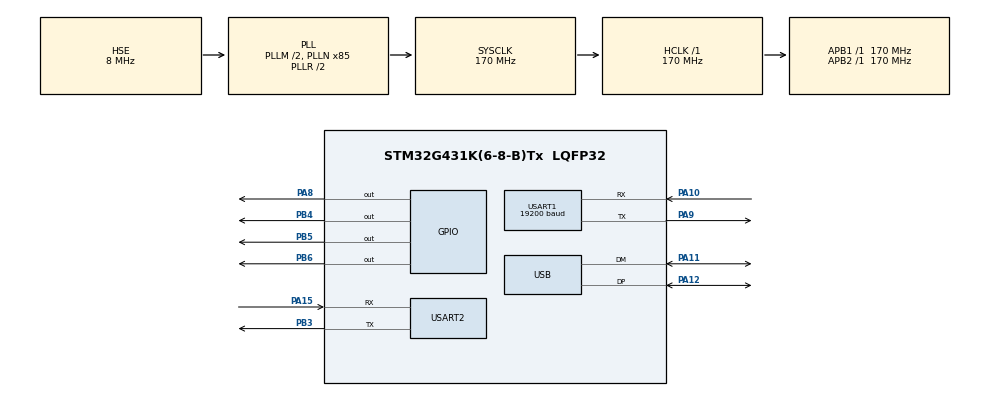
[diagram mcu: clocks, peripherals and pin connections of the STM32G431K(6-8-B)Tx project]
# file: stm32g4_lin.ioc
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Mcu.Family=STM32G4
Mcu.Name=STM32G431K(6-8-B)Tx
Mcu.Package=LQFP32
NVIC.PriorityGroup=NVIC_PRIORITYGROUP_4
NVIC.TIM1_UP_TIM16_IRQn=true\:15\:0\:false\:false\:true\:false\:true\:true
NVIC.TimeBase=TIM1_UP_TIM16_IRQn
NVIC.TimeBaseIP=TIM1
NVIC.USART1_IRQn=true\:0\:0\:false\:false\:true\:true\:true\:true
NVIC.USART2_IRQn=true\:0\:0\:false\:false\:true\:true\:true\:true
NVIC.USB_LP_IRQn=true\:0\:0\:false\:false\:true\:false\:true\:true
PA10.Mode=LIN
PA10.Signal=USART1_RX
PA11.Mode=Device
PA11.Signal=USB_DM
PA12.Mode=Device
PA12.Signal=USB_DP
PA13.Mode=Serial_Wire
PA13.Signal=SYS_JTMS-SWDIO
PA14.Mode=Serial_Wire
PA14.Signal=SYS_JTCK-SWCLK
PA15.GPIO_PuPd=GPIO_PULLUP
PA15.Mode=Asynchronous
PA15.Signal=USART2_RX
PA8.Signal=GPIO_Output
PA9.Mode=LIN
PA9.Signal=USART1_TX
PB3.Mode=Asynchronous
PB3.Signal=USART2_TX
PB4.Signal=GPIO_Output
PB5.Signal=GPIO_Output
PB6.Signal=GPIO_Output
PF0-OSC_IN.Mode=HSE-External-Oscillator
PF0-OSC_IN.Signal=RCC_OSC_IN
PF1-OSC_OUT.Mode=HSE-External-Oscillator
PF1-OSC_OUT.Signal=RCC_OSC_OUT
ProjectManager.HeapSize=0x200
ProjectManager.StackSize=0x800
ProjectManager.TargetToolchain=STM32CubeIDE
RCC.ADC12Freq_Value=170000000
RCC.AHBFreq_Value=170000000
RCC.APB1Freq_Value=170000000
RCC.APB1TimFreq_Value=170000000
RCC.APB2Freq_Value=170000000
RCC.APB2TimFreq_Value=170000000
RCC.CK48CLockSelection=RCC_USBCLKSOURCE_HSI48
RCC.CortexFreq_Value=170000000
RCC.EXTERNAL_CLOCK_VALUE=12288000
RCC.HCLKFreq_Value=170000000
RCC.HSE_VALUE=8000000
RCC.HSI48_VALUE=48000000
RCC.HSI_VALUE=16000000
RCC.LSE_VALUE=32768
RCC.PLLM=RCC_PLLM_DIV2
RCC.PLLN=85
RCC.PLLSourceVirtual=RCC_PLLSOURCE_HSE
RCC.SYSCLKFreq_VALUE=170000000
RCC.SYSCLKSource=RCC_SYSCLKSOURCE_PLLCLK
RCC.USBFreq_Value=48000000
RCC.VCOOutputFreq_Value=340000000
USART1.BaudRate=19200
USART1.BreakDetectLength=UART_LINBREAKDETECTLENGTH_11B
USART1.SwapParam=ADVFEATURE_SWAP_DISABLE
USART1.VirtualMode-LIN=VM_LIN
USART2.VirtualMode-Asynchronous=VM_ASYNC
USB_DEVICE.CLASS_NAME_FS=CDC
USB_DEVICE.VirtualMode=Cdc
USB_DEVICE.VirtualModeFS=Cdc_FS
VP_SYS_VS_DBSignals.Mode=DisableDeadBatterySignals
VP_SYS_VS_tim1.Mode=TIM1
VP_USB_DEVICE_VS_USB_DEVICE_CDC_FS.Mode=CDC_FS
board=custom

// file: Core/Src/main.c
/* USER CODE BEGIN Header */
/**
  ******************************************************************************
  * @file           : main.c
  * @brief          : Main program body
  ******************************************************************************
  * @attention
  *
  * Copyright (c) 2024 STMicroelectronics.
  * All rights reserved.
  *
  * This software is licensed under terms that can be found in the LICENSE file
  * in the root directory of this software component.
  * If no LICENSE file comes with this software, it is provided AS-IS.
  *
  ******************************************************************************
  */
/* USER CODE END Header */
#include "main.h"
#include "usart.h"
#include "usb_device.h"
#include "gpio.h"

/* USER CODE BEGIN Includes */
#include <stdio.h>
#include "slcan.h"
#include "lin_slcan.h"
/* USER CODE END Includes */

void SystemClock_Config(void);

/* USER CODE BEGIN 0 */
const uint32_t *uid = (uint32_t *)(UID_BASE);
uint32_t serialNumber = 0;
uint32_t lin_baund_rate = 19200;
uint8_t Uart2RxFifo;
extern void bootloaderSwitcher();

extern UART_HandleTypeDef huart2;
int __io_putchar(int ch)
{
	HAL_UART_Transmit(&huart2, (uint8_t*)&ch, 1, 1000);
    return ch;
}
/* USER CODE END 0 */

int main(void)
{

  /* USER CODE BEGIN 1 */
	serialNumber = uid[0] ^ uid[1] ^ uid[2];
	bootloaderSwitcher();

  /* USER CODE END 1 */

  /* MCU Configuration--------------------------------------------------------*/

  /* Reset of all peripherals, Initializes the Flash interface and the Systick. */
  HAL_Init();

  /* Configure the system clock */
  SystemClock_Config();

  /* Initialize all configured peripherals */
  MX_GPIO_Init();
  MX_USART1_UART_Init();
  MX_USART2_UART_Init();
  MX_USB_Device_Init();
  /* USER CODE BEGIN 2 */
  HAL_UART_Receive_IT(&huart1, &Uart2RxFifo, 1);
  //printf("start\n");
  // LIN_EN
  HAL_GPIO_WritePin(GPIOA, GPIO_PIN_8, GPIO_PIN_SET);
  /* USER CODE END 2 */

  /* Infinite loop */
  /* USER CODE BEGIN WHILE */
  while (1)
  {
	slCanCheckCommand();
    /* USER CODE END WHILE */

  }
}

void SystemClock_Config(void)
{
  RCC_OscInitTypeDef RCC_OscInitStruct = {0};
  RCC_ClkInitTypeDef RCC_ClkInitStruct = {0};

  /** Configure the main internal regulator output voltage
  */
  HAL_PWREx_ControlVoltageScaling(PWR_REGULATOR_VOLTAGE_SCALE1_BOOST);

  /** Initializes the RCC Oscillators according to the specified parameters
  * in the RCC_OscInitTypeDef structure.
  */
  RCC_OscInitStruct.OscillatorType = RCC_OSCILLATORTYPE_HSI48|RCC_OSCILLATORTYPE_HSE;
  RCC_OscInitStruct.HSEState = RCC_HSE_ON;
  RCC_OscInitStruct.HSI48State = RCC_HSI48_ON;
  RCC_OscInitStruct.PLL.PLLState = RCC_PLL_ON;
  RCC_OscInitStruct.PLL.PLLSource = RCC_PLLSOURCE_HSE;
  RCC_OscInitStruct.PLL.PLLM = RCC_PLLM_DIV2;
  RCC_OscInitStruct.PLL.PLLN = 85;
  RCC_OscInitStruct.PLL.PLLP = RCC_PLLP_DIV2;
  RCC_OscInitStruct.PLL.PLLQ = RCC_PLLQ_DIV2;
  RCC_OscInitStruct.PLL.PLLR = RCC_PLLR_DIV2;
  if (HAL_RCC_OscConfig(&RCC_OscInitStruct) != HAL_OK)
  {
    Error_Handler();
  }

  /** Initializes the CPU, AHB and APB buses clocks
  */
  RCC_ClkInitStruct.ClockType = RCC_CLOCKTYPE_HCLK|RCC_CLOCKTYPE_SYSCLK
                              |RCC_CLOCKTYPE_PCLK1|RCC_CLOCKTYPE_PCLK2;
  RCC_ClkInitStruct.SYSCLKSource = RCC_SYSCLKSOURCE_PLLCLK;
  RCC_ClkInitStruct.AHBCLKDivider = RCC_SYSCLK_DIV1;
  RCC_ClkInitStruct.APB1CLKDivider = RCC_HCLK_DIV1;
  RCC_ClkInitStruct.APB2CLKDivider = RCC_HCLK_DIV1;

  if (HAL_RCC_ClockConfig(&RCC_ClkInitStruct, FLASH_LATENCY_4) != HAL_OK)
  {
    Error_Handler();
  }
}

/* USER CODE BEGIN 4 */
void HAL_UART_RxCpltCallback(UART_HandleTypeDef *huart){
	extern LinType_t lin_type;
	uint8_t rbyte = Uart2RxFifo;
	if (slcan_state == SLCAN_STATE_OPEN)
	{
		switch (lin_type)
		{
		case LIN_MASTER:
			open_lin_master_dl_rx(rbyte);
			break;
		case LIN_SLAVE:
			open_lin_slave_rx_header(rbyte);
		default: /* Monitor */
			lin_slcan_rx(rbyte);
			break;
		}
	}
	HAL_UART_Receive_IT(huart, &Uart2RxFifo, 1);
}

void HAL_UART_ErrorCallback(UART_HandleTypeDef *huart)
{

}

/* USER CODE END 4 */

void HAL_TIM_PeriodElapsedCallback(TIM_HandleTypeDef *htim)
{
  if (htim->Instance == TIM1)
  {
    HAL_IncTick();
  }
}

void Error_Handler(void)
{
  __disable_irq();
  while (1)
  {
  }
}
